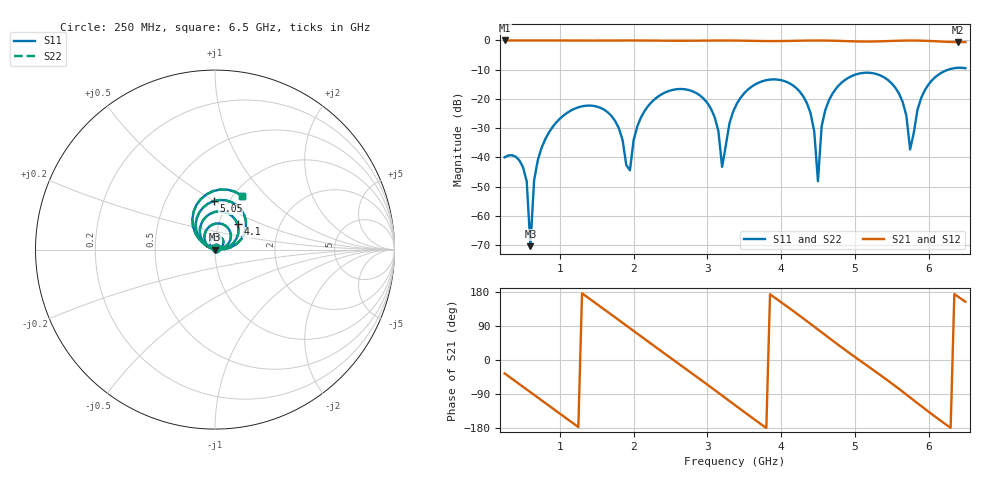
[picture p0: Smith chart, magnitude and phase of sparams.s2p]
! NobuRF kit-ro50-r2-line48: ports 1 "p1", 2 "p2"; 10800 + 10800 steps
# GHz S RI R 50
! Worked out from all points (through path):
!   126 points, 250 MHz to 6.5 GHz, reference 50 ohm
!   highest |S21| = 0.00 dB at 250 MHz (marker M1); lowest = -0.6 dB at 6.4 GHz (marker M2)
!   group delay of S21, straight-line fit = 396 ps
!   lowest |S11| = -70.4 dB at 600 MHz (marker M3), VSWR 1.00, Z = 50 - j0.0112 ohm
!   |S11| at or under -10 dB: start of sweep to 6.267 GHz
!   |S22| runs from -70.4 to -9.3 dB; largest |S21 - S12| = 3.6e-07
!   S11 on the Smith chart (normalised r, x): 250 MHz: 1.01, +0.02; 4.1 GHz: 1.23, +0.36; 5.05 GHz: 0.85, +0.50; 6.5 GHz: 1.09, +0.74
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0.25  0.00563 0.0083  0.8155 -0.5789  0.8155 -0.5789  0.00563 0.0083
0.5  0.00646 0.00208  0.3299 -0.9438  0.3299 -0.9438  0.00646 0.00208
0.6  0.000282 -0.000112  0.0892 -0.9959  0.0892 -0.9959  0.000282 -0.000112
0.65  -0.00403 5.14e-05  -0.0342 -0.9993  -0.0342 -0.9993  -0.00403 5.12e-05
0.75  -0.0138 0.00404  -0.2777 -0.9605  -0.2777 -0.9605  -0.0138 0.00404
1.3  0.00468 0.0747  -0.9943 0.0696  -0.9943 0.0696  0.00468 0.0747
1.7  0.044 0.0259  -0.4906 0.8686  -0.4906 0.8686  0.044 0.0259
1.95  -0.00576 0.00173  0.1065 0.9933  0.1065 0.9933  -0.00576 0.00173
2.35  -0.052 0.1015  0.8857 0.4489  0.8857 0.4489  -0.052 0.1015
2.95  0.0852 0.0541  0.5285 -0.8414  0.5285 -0.8414  0.0852 0.0541
3.2  0.00666 0.0018  -0.0661 -0.9959  -0.0661 -0.9959  0.00665 0.0018
3.4  -0.0687 0.0467  -0.5375 -0.8367  -0.5375 -0.8367  -0.0687 0.0467
4.1  0.1258 0.1414  -0.7345 0.6503  -0.7345 0.6503  0.1258 0.1414
4.45  0.0277 0.00141  0.0366 0.9971  0.0366 0.9971  0.0277 0.00141
4.5  -0.00232 0.00315  0.1642 0.9845  0.1642 0.9845  -0.00232 0.00315
4.65  -0.0801 0.0517  0.5203 0.8465  0.5203 0.8465  -0.0801 0.0517
5.05  -0.00825 0.27  0.9613 0.0214  0.9613 0.0214  -0.00825 0.27
5.5  0.1629 0.0874  0.4655 -0.8635  0.4655 -0.8635  0.1629 0.0874
5.75  0.0135 0.002  -0.1525 -0.9854  -0.1525 -0.9854  0.0135 0.002
5.95  -0.109 0.0898  -0.62 -0.7683  -0.62 -0.7683  -0.109 0.0898
6.4  0.072 0.3335  -0.9148 0.2059  -0.9148 0.2059  0.072 0.3335
6.5  0.1486 0.301  -0.8426 0.4158  -0.8426 0.4158  0.1486 0.301
